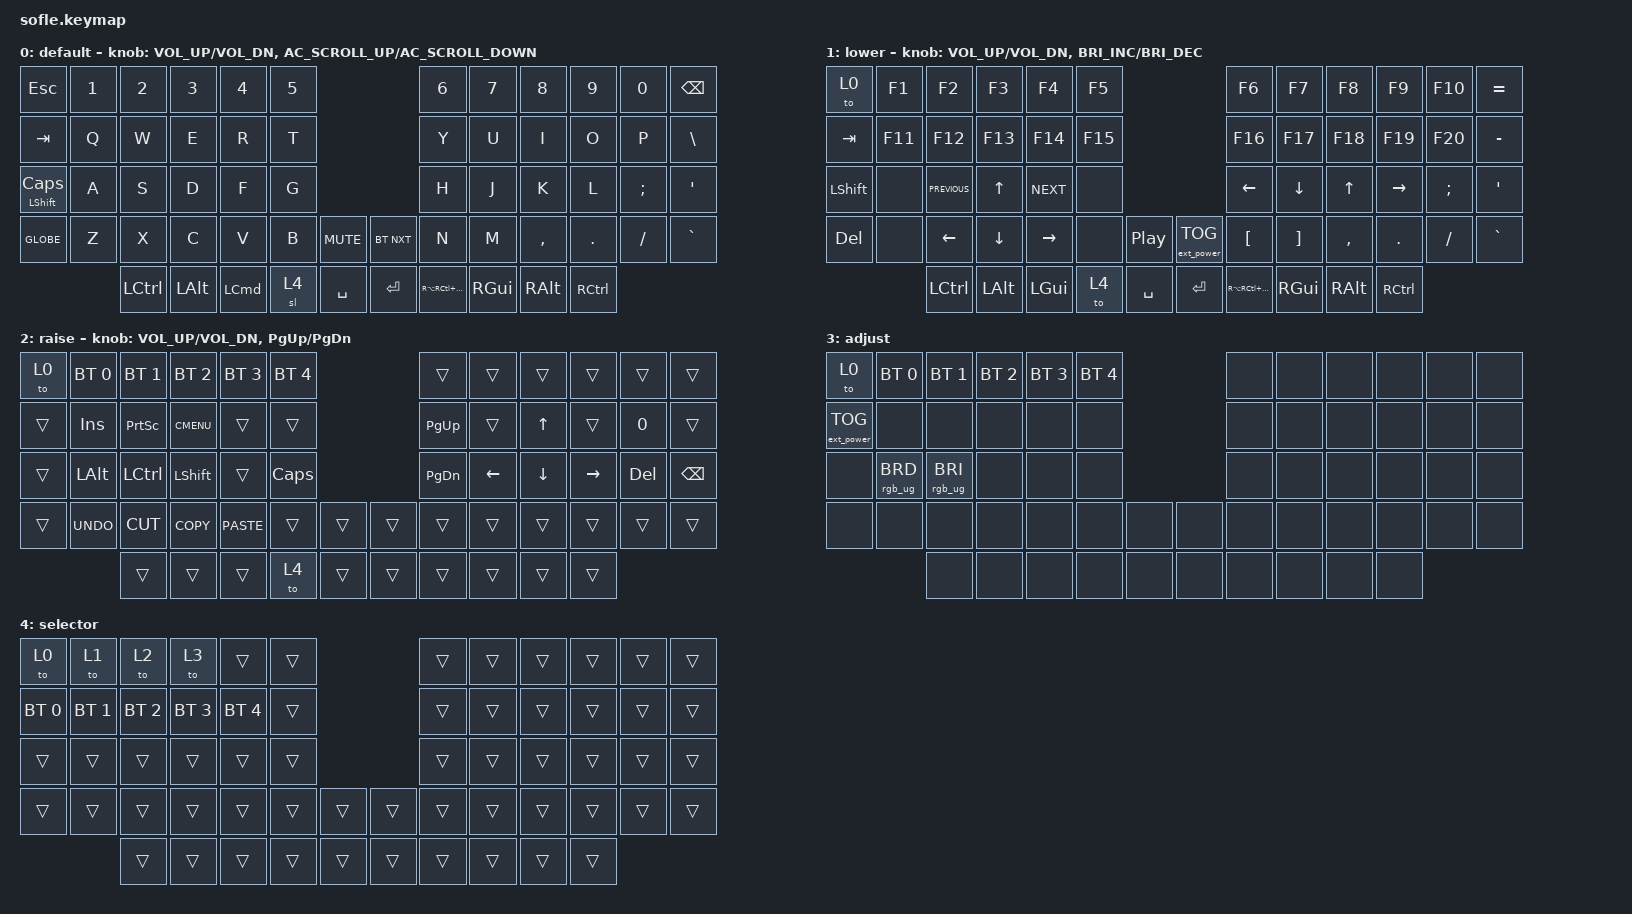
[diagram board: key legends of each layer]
/*
 * Copyright (c) 2020 The ZMK Contributors
 *
 * SPDX-License-Identifier: MIT
 */

#include <behaviors.dtsi>
#include <dt-bindings/zmk/bt.h>
#include <dt-bindings/zmk/ext_power.h>
#include <dt-bindings/zmk/keys.h>
#include <dt-bindings/zmk/rgb.h>

#define BASE 0
#define LOWER 1
#define RAISE 2
#define ADJUST 3

/ {
    // Activate ADJUST layer by pressing raise and lower

    conditional_layers {
        compatible = "zmk,conditional-layers";

        adjust_layer {
            if-layers = <1 2>;
            then-layer = <3>;
        };
    };

    keymap {
        compatible = "zmk,keymap";

        default {
            display-name = "default";

            // ------------------------------------------------------------------------------------------------------------
            // |   `   |  1  |  2  |  3   |  4   |  5   |                   |  6   |  7    |  8    |  9   |   0   |       |
            // |  ESC  |  Q  |  W  |  E   |  R   |  T   |                   |  Y   |  U    |  I    |  O   |   P   | BKSPC |
            // |  TAB  |  A  |  S  |  D   |  F   |  G   |                   |  H   |  J    |  K    |  L   |   ;   |   '   |
            // | SHIFT |  Z  |  X  |  C   |  V   |  B   |  MUTE  |  |       |  N   |  M    |  ,    |  .   |   /   | SHIFT |
            //               | GUI | ALT  | CTRL | LOWER|  ENTER |  | SPACE | RAISE| CTRL  | ALT   | GUI  |

            bindings = <
&kp ESCAPE           &kp N1  &kp N2            &kp N3    &kp N4            &kp N5                            &kp N6                       &kp N7         &kp N8         &kp N9             &kp N0     &kp BACKSPACE
&kp TAB              &kp Q   &kp W             &kp E     &kp R             &kp T                             &kp Y                        &kp U          &kp I          &kp O              &kp P      &kp BACKSLASH
&mt LEFT_SHIFT CAPS  &kp A   &kp S             &kp D     &kp F             &kp G                             &kp H                        &kp J          &kp K          &kp L              &kp SEMI   &kp APOSTROPHE
&kp GLOBE            &kp Z   &kp X             &kp C     &kp V             &kp B   &kp C_MUTE    &bt BT_NXT  &kp N                        &kp M          &kp COMMA      &kp DOT            &kp SLASH  &kp GRAVE
                             &kp LEFT_CONTROL  &kp LALT  &kp LEFT_COMMAND  &sl 4   &kp SPACE     &kp ENTER   &kp RA(RC(RG(RIGHT_SHIFT)))  &kp RIGHT_GUI  &kp RIGHT_ALT  &kp RIGHT_CONTROL
            >;

            sensor-bindings =
                <&inc_dec_kp C_VOL_UP C_VOL_DN>,
                <&inc_dec_kp C_AC_SCROLL_UP C_AC_SCROLL_DOWN>;
        };

        functions {
            display-name = "lower";

            // TODO: Some binds are waiting for shifted keycode support.
            // ------------------------------------------------------------------------------------------------------------
            // |       |  F1 |  F2 |  F3  |  F4  |  F5  |                   |  F6  |  F7   |  F8   |  F9  |  F10  |  F11  |
            // |   `   |  1  |  2  |  3   |  4   |  5   |                   |  6   |  7    |  8    |  9   |   0   |  F12  |
            // |       |  !  |  @  |  #   |  $   |  %   |                   |  ^   |  &    |  *    |  (   |   )   |   |   |
            // |       |  =  |  -  |  +   |  {   |  }   |        |  |       |  [   |  ]    |  ;    |  :   |   \   |       |
            //               |     |      |      |      |        |  |       |      |       |       |      |

            bindings = <
&to 0           &kp F1   &kp F2            &kp F3        &kp F4        &kp F5                                          &kp F6                       &kp F7    &kp F8     &kp F9      &kp F10        &kp EQUAL
&kp TAB         &kp F11  &kp F12           &kp F13       &kp F14       &kp F15                                         &kp F16                      &kp F17   &kp F18    &kp F19     &kp F20        &kp MINUS
&kp LEFT_SHIFT  &none    &kp C_PREVIOUS    &kp UP        &kp C_NEXT    &none                                           &kp LEFT                     &kp DOWN  &kp UP     &kp RIGHT   &kp SEMICOLON  &kp APOS
&kp DELETE      &none    &kp LEFT          &kp DOWN      &kp RIGHT     &none    &kp C_PLAY_PAUSE    &ext_power EP_TOG  &kp LBKT                     &kp RBKT  &kp COMMA  &kp PERIOD  &kp SLASH      &kp GRAVE
                         &kp LEFT_CONTROL  &kp LEFT_ALT  &kp LEFT_GUI  &to 4    &kp SPACE           &kp ENTER          &kp RA(RC(RG(RIGHT_SHIFT)))  &kp RGUI  &kp RALT   &kp RCTRL
            >;

            sensor-bindings =
                <&inc_dec_kp C_VOL_UP C_VOL_DN>,
                <&inc_dec_kp C_BRIGHTNESS_INC C_BRIGHTNESS_DEC>;
        };

        raise_layer {
            display-name = "raise";

            // ------------------------------------------------------------------------------------------------------------
            // | BTCLR | BT1  | BT2  |  BT3  |  BT4  |  BT5 |                |      |      |       |      |       |       |
            // |       | INS  | PSCR | GUI   |       |      |                | PGUP |      |   ^   |      |       |       |
            // |       | ALT  | CTRL | SHIFT |       | CAPS |                | PGDN |   <- |   v   |  ->  |  DEL  | BKSPC |
            // |       | UNDO | CUT  | COPY  | PASTE |      |      |  |      |      |      |       |      |       |       |
            //                |      |       |       |      |      |  |      |      |      |       |      |

            bindings = <
&to 0   &bt BT_SEL 0  &bt BT_SEL 1  &bt BT_SEL 2  &bt BT_SEL 3  &bt BT_SEL 4                    &trans     &trans    &trans    &trans     &trans   &trans
&trans  &kp INS       &kp PSCRN     &kp K_CMENU   &trans        &trans                          &kp PG_UP  &trans    &kp UP    &trans     &kp N0   &trans
&trans  &kp LALT      &kp LCTRL     &kp LSHFT     &trans        &kp CLCK                        &kp PG_DN  &kp LEFT  &kp DOWN  &kp RIGHT  &kp DEL  &kp BSPC
&trans  &kp K_UNDO    &kp K_CUT     &kp K_COPY    &kp K_PASTE   &trans        &trans    &trans  &trans     &trans    &trans    &trans     &trans   &trans
                      &trans        &trans        &trans        &to 4         &trans    &trans  &trans     &trans    &trans    &trans
            >;

            sensor-bindings = <&inc_dec_kp C_VOL_UP C_VOL_DN &inc_dec_kp PG_UP PG_DN>;
        };

        adjust_layer {
            // ----------------------------------------------------------------------------------------------------------------------------
            // | BTCLR  |  BT1    |  BT2    |   BT3   |   BT4   |   BT5   |                  |      |      |       |      |       |       |
            // | EXTPWR | RGB_HUD | RGB_HUI | RGB_SAD | RGB_SAI | RGB_EFF |                  |      |      |       |      |       |       |
            // |        | RGB_BRD | RGB_BRI |         |         |         |                  |      |      |       |      |       |       |
            // |        |         |         |         |         |         | RGB_TOG | |      |      |      |       |      |       |       |
            //                    |         |         |         |         |         | |      |      |      |       |      |

            display-name = "adjust";
            bindings = <
&to 0              &bt BT_SEL 0     &bt BT_SEL 1     &bt BT_SEL 2  &bt BT_SEL 3  &bt BT_SEL 4                  &none  &none  &none  &none  &none  &none
&ext_power EP_TOG  &none            &none            &none         &none         &none                         &none  &none  &none  &none  &none  &none
&none              &rgb_ug RGB_BRD  &rgb_ug RGB_BRI  &none         &none         &none                         &none  &none  &none  &none  &none  &none
&none              &none            &none            &none         &none         &none         &none    &none  &none  &none  &none  &none  &none  &none
                                    &none            &none         &none         &none         &none    &none  &none  &none  &none  &none
            >;
        };

        selector {
            bindings = <
&to 0         &to 1         &to 2         &to 3         &trans        &trans                    &trans  &trans  &trans  &trans  &trans  &trans
&bt BT_SEL 0  &bt BT_SEL 1  &bt BT_SEL 2  &bt BT_SEL 3  &bt BT_SEL 4  &trans                    &trans  &trans  &trans  &trans  &trans  &trans
&trans        &trans        &trans        &trans        &trans        &trans                    &trans  &trans  &trans  &trans  &trans  &trans
&trans        &trans        &trans        &trans        &trans        &trans  &trans    &trans  &trans  &trans  &trans  &trans  &trans  &trans
                            &trans        &trans        &trans        &trans  &trans    &trans  &trans  &trans  &trans  &trans
            >;
        };
    };
};
